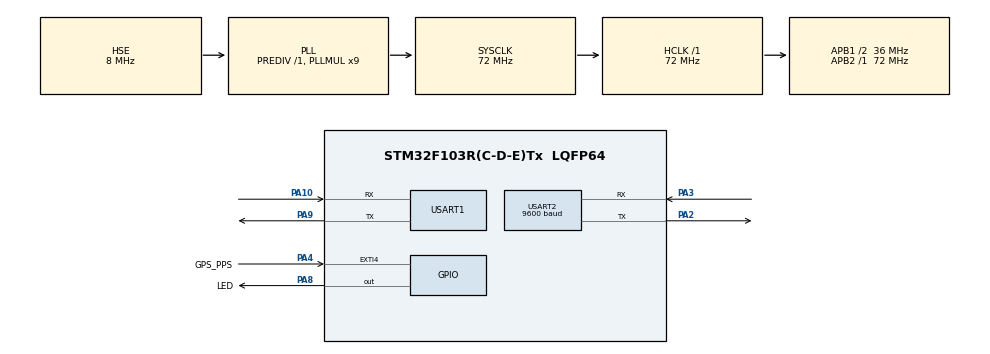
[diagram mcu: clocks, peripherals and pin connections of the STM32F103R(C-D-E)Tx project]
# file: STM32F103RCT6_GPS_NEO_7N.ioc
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Dma.Request0=USART2_RX
Dma.USART2_RX.0.Direction=DMA_PERIPH_TO_MEMORY
Dma.USART2_RX.0.Instance=DMA1_Channel6
Dma.USART2_RX.0.MemDataAlignment=DMA_MDATAALIGN_BYTE
Dma.USART2_RX.0.MemInc=DMA_MINC_ENABLE
Dma.USART2_RX.0.Mode=DMA_CIRCULAR
Dma.USART2_RX.0.PeriphDataAlignment=DMA_PDATAALIGN_BYTE
Dma.USART2_RX.0.PeriphInc=DMA_PINC_DISABLE
Dma.USART2_RX.0.Priority=DMA_PRIORITY_MEDIUM
Mcu.Family=STM32F1
Mcu.Name=STM32F103R(C-D-E)Tx
Mcu.Package=LQFP64
NVIC.DMA1_Channel6_IRQn=true\:0\:0\:false\:false\:true\:false\:true
NVIC.EXTI4_IRQn=true\:0\:0\:false\:false\:true\:true\:true
NVIC.PriorityGroup=NVIC_PRIORITYGROUP_4
NVIC.TIM2_IRQn=true\:0\:0\:false\:false\:true\:true\:true
NVIC.USART2_IRQn=true\:0\:0\:false\:false\:true\:true\:true
PA10.Mode=Asynchronous
PA10.Signal=USART1_RX
PA13.Mode=Serial_Wire
PA13.Signal=SYS_JTMS-SWDIO
PA14.Mode=Serial_Wire
PA14.Signal=SYS_JTCK-SWCLK
PA2.Mode=Asynchronous
PA2.Signal=USART2_TX
PA3.Mode=Asynchronous
PA3.Signal=USART2_RX
PA4.GPIO_Label=GPS_PPS
PA4.GPIO_ModeDefaultEXTI=GPIO_MODE_IT_FALLING
PA4.Signal=GPXTI4
PA8.GPIO_Label=LED
PA8.Signal=GPIO_Output
PA9.Mode=Asynchronous
PA9.Signal=USART1_TX
PC14-OSC32_IN.Mode=LSE-External-Oscillator
PC14-OSC32_IN.Signal=RCC_OSC32_IN
PC15-OSC32_OUT.Mode=LSE-External-Oscillator
PC15-OSC32_OUT.Signal=RCC_OSC32_OUT
PD0-OSC_IN.Mode=HSE-External-Oscillator
PD0-OSC_IN.Signal=RCC_OSC_IN
PD1-OSC_OUT.Mode=HSE-External-Oscillator
PD1-OSC_OUT.Signal=RCC_OSC_OUT
ProjectManager.HeapSize=0x1000
ProjectManager.StackSize=0x800
ProjectManager.TargetToolchain=MDK-ARM V5
RCC.AHBFreq_Value=72000000
RCC.APB1CLKDivider=RCC_HCLK_DIV2
RCC.APB1Freq_Value=36000000
RCC.APB1TimFreq_Value=72000000
RCC.APB2Freq_Value=72000000
RCC.APB2TimFreq_Value=72000000
RCC.HCLKFreq_Value=72000000
RCC.PLLMUL=RCC_PLL_MUL9
RCC.PLLSourceVirtual=RCC_PLLSOURCE_HSE
RCC.SYSCLKFreq_VALUE=72000000
RCC.SYSCLKSource=RCC_SYSCLKSOURCE_PLLCLK
RCC.USBFreq_Value=72000000
TIM2.Period=4999
TIM2.Prescaler=7199
USART1.VirtualMode=VM_ASYNC
USART2.BaudRate=9600
USART2.VirtualMode=VM_ASYNC
VP_TIM2_VS_ClockSourceINT.Mode=Internal
board=custom

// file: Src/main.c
/* USER CODE BEGIN Header */
/**
  ******************************************************************************
  * @file           : main.c
  * @brief          : Main program body
  ******************************************************************************
  * @attention
  *
  * <h2><center>&copy; Copyright (c) 2020 STMicroelectronics.
  * All rights reserved.</center></h2>
  *
  * This software component is licensed by ST under BSD 3-Clause license,
  * the "License"; You may not use this file except in compliance with the
  * License. You may obtain a copy of the License at:
  *                        opensource.org/licenses/BSD-3-Clause
  *
  ******************************************************************************
  */
/* USER CODE END Header */

/***
 *      _____          __  __ _      _____ _    _ ____   ____
 *     |_   _|   /\   |  \/  | |    |_   _| |  | |  _ \ / __ \
 *       | |    /  \  | \  / | |      | | | |  | | |_) | |  | |
 *       | |   / /\ \ | |\/| | |      | | | |  | |  _ <| |  | |
 *      _| |_ / ____ \| |  | | |____ _| |_| |__| | |_) | |__| |
 *     |_____/_/    \_\_|  |_|______|_____|\____/|____/ \____/
 *
 *
 */

#include "main.h"
#include "dma.h"
#include "tim.h"
#include "usart.h"
#include "gpio.h"

/* USER CODE BEGIN Includes */
#include <stdio.h>
#include <string.h>
#include <time.h>
/* USER CODE END Includes */

/* USER CODE BEGIN PV */
GPS_DataTypeDef GPS_Data;
/* USER CODE END PV */

void SystemClock_Config(void);
/* USER CODE BEGIN PFP */
void Parse_GPS_Data(void);
void Print_GPS_Data(void);
/* USER CODE END PFP */

int main(void)
{

  /* MCU Configuration--------------------------------------------------------*/

  /* Reset of all peripherals, Initializes the Flash interface and the Systick. */
  HAL_Init();

  /* Configure the system clock */
  SystemClock_Config();

  /* Initialize all configured peripherals */
  MX_GPIO_Init();
  MX_DMA_Init();
  MX_TIM2_Init();
  MX_USART1_UART_Init();
  MX_USART2_UART_Init();
  /* USER CODE BEGIN 2 */
	HAL_TIM_Base_Start_IT(&htim2);
	__HAL_UART_ENABLE_IT(&huart2, UART_IT_IDLE);
	HAL_UART_Receive_DMA(&huart2,(uint8_t *)GPS_Data.GPS_Data_Buffer,GPS_BUFFER_SIZE);

  /* USER CODE END 2 */

  /* Infinite loop */
  while (1)
  {

    /* USER CODE BEGIN 3 */
		Parse_GPS_Data();
		Print_GPS_Data();
  }
  /* USER CODE END 3 */
}

void SystemClock_Config(void)
{
  RCC_OscInitTypeDef RCC_OscInitStruct = {0};
  RCC_ClkInitTypeDef RCC_ClkInitStruct = {0};

  /** Initializes the CPU, AHB and APB busses clocks
  */
  RCC_OscInitStruct.OscillatorType = RCC_OSCILLATORTYPE_HSE;
  RCC_OscInitStruct.HSEState = RCC_HSE_ON;
  RCC_OscInitStruct.HSEPredivValue = RCC_HSE_PREDIV_DIV1;
  RCC_OscInitStruct.HSIState = RCC_HSI_ON;
  RCC_OscInitStruct.PLL.PLLState = RCC_PLL_ON;
  RCC_OscInitStruct.PLL.PLLSource = RCC_PLLSOURCE_HSE;
  RCC_OscInitStruct.PLL.PLLMUL = RCC_PLL_MUL9;
  if (HAL_RCC_OscConfig(&RCC_OscInitStruct) != HAL_OK)
  {
    Error_Handler();
  }
  /** Initializes the CPU, AHB and APB busses clocks
  */
  RCC_ClkInitStruct.ClockType = RCC_CLOCKTYPE_HCLK|RCC_CLOCKTYPE_SYSCLK
                              |RCC_CLOCKTYPE_PCLK1|RCC_CLOCKTYPE_PCLK2;
  RCC_ClkInitStruct.SYSCLKSource = RCC_SYSCLKSOURCE_PLLCLK;
  RCC_ClkInitStruct.AHBCLKDivider = RCC_SYSCLK_DIV1;
  RCC_ClkInitStruct.APB1CLKDivider = RCC_HCLK_DIV2;
  RCC_ClkInitStruct.APB2CLKDivider = RCC_HCLK_DIV1;

  if (HAL_RCC_ClockConfig(&RCC_ClkInitStruct, FLASH_LATENCY_2) != HAL_OK)
  {
    Error_Handler();
  }
}

/* USER CODE BEGIN 4 */
void Parse_GPS_Data(void)
{
	char *subString;
	char *subStringNext;
	uint8_t i = 0;
	if (GPS_Data.isGetData)
	{
		GPS_Data.isGetData = 0;
//		printf("%s",GPS_Data.GPS_Data_Buffer);

		for (i = 0 ; i <= 9 ; i++)
		{
			if (i == 0)
			{
				if((subString = strstr((char *)GPS_Data.GPS_Data_Buffer, ",")) == NULL)
					printf("GPS data parse error(1)\r\n");;
			}
			else
			{
				subString++;
				if ((subStringNext = strstr(subString, ",")) != NULL)
				{
					char isRightBuffer[2];
					switch(i)
					{
						case 1:
							memcpy(GPS_Data.UTCTime, subString, subStringNext - subString);
						  GPS_Data.UTCTime[10] = '\0';
						break;
						case 2:
							memcpy(isRightBuffer, subString, subStringNext - subString);
						  isRightBuffer[1] = '\0';
						break;
						case 3:
							memcpy(GPS_Data.latitude, subString, subStringNext - subString);
							GPS_Data.latitude[10] = '\0';
						break;
						case 4:
							memcpy(GPS_Data.N_S, subString, subStringNext - subString);
						  GPS_Data.N_S[1] = '\0';
						break;
						case 5:
							memcpy(GPS_Data.longitude, subString, subStringNext - subString);
							GPS_Data.longitude[11] = '\0';
						break;
						case 6:
							memcpy(GPS_Data.E_W, subString, subStringNext - subString);
							GPS_Data.E_W[1] = '\0';
						break;
						case 7:
							break;
						case 8:
							break;
						case 9:
							memcpy(GPS_Data.UTCDate, subString, subStringNext - subString);
						  GPS_Data.UTCDate[6] = '\0';
							break;
						default:break;
					}

					subString = subStringNext;
					GPS_Data.isParseData = 1;
					if(isRightBuffer[0] == 'A')
						GPS_Data.isRightData = 1;
					else if(isRightBuffer[0] == 'V')
						GPS_Data.isRightData = 0;
				}
				else
				{
					printf("GPS data parse error(2)\r\n");
				}
			}
		}

	__HAL_UART_ENABLE_IT(&huart2, UART_IT_IDLE);
	HAL_UART_Receive_DMA(&huart2,(uint8_t *)GPS_Data.GPS_Data_Buffer,GPS_BUFFER_SIZE);
	}
}

void Print_GPS_Data(void)
{
	if (GPS_Data.isParseData)
	{
		GPS_Data.isParseData = 0;

		if(GPS_Data.isRightData)
		{
			GPS_Data.isRightData = 0;
			printf("   *****************************************\r\n");
			printf("   *****          GPS LOCATION         *****\r\n");
			printf("   ***   Date:%s     TIME:%s  ***\r\n", GPS_Data.UTCDate, GPS_Data.UTCTime);
			printf("   *                                       *\r\n");
			printf("   ***  %s: %s    %s: %s  ***\r\n", GPS_Data.N_S,GPS_Data.latitude,GPS_Data.E_W,GPS_Data.longitude);
			printf("   *****            IAMLIUBO           *****\r\n");
			printf("   *****************************************\r\n\r\n");
		}
		else
		{
			printf("GPS data not right\r\n");
		}
	}
}

/* USER CODE END 4 */

void Error_Handler(void)
{
}

/************************ (C) COPYRIGHT STMicroelectronics *****END OF FILE****/
